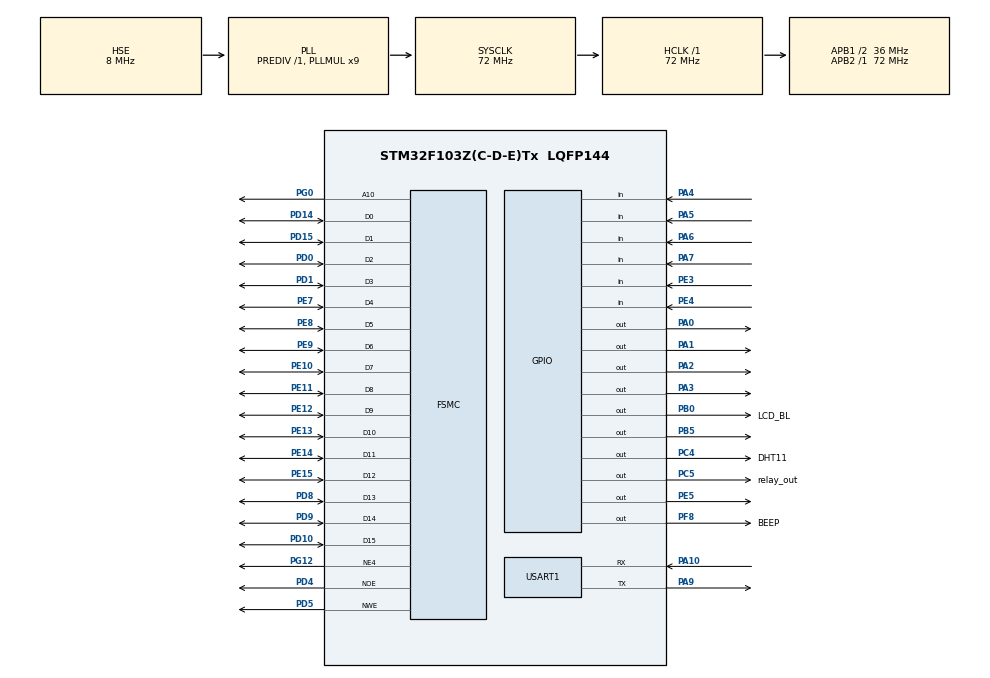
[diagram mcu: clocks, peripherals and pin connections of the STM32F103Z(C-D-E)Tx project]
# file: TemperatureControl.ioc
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FSMC.AddressSetupTime1=2
FSMC.BusTurnAroundDuration1=0
FSMC.DataSetupTime1=16
FSMC.ExtendedAddressSetupTime1=4
FSMC.ExtendedBusTurnAroundDuration1=0
FSMC.ExtendedDataSetupTime1=9
FSMC.ExtendedMode1=FSMC_EXTENDED_MODE_ENABLE
Mcu.Family=STM32F1
Mcu.Name=STM32F103Z(C-D-E)Tx
Mcu.Package=LQFP144
NVIC.PriorityGroup=NVIC_PRIORITYGROUP_4
OSC_IN.Mode=HSE-External-Oscillator
OSC_IN.Signal=RCC_OSC_IN
OSC_OUT.Mode=HSE-External-Oscillator
OSC_OUT.Signal=RCC_OSC_OUT
PA0-WKUP.PinState=GPIO_PIN_RESET
PA0-WKUP.Signal=GPIO_Output
PA1.PinState=GPIO_PIN_RESET
PA1.Signal=GPIO_Output
PA10.Mode=Asynchronous
PA10.Signal=USART1_RX
PA13.Mode=Serial_Wire
PA13.Signal=SYS_JTMS-SWDIO
PA14.Mode=Serial_Wire
PA14.Signal=SYS_JTCK-SWCLK
PA2.PinState=GPIO_PIN_RESET
PA2.Signal=GPIO_Output
PA3.PinState=GPIO_PIN_RESET
PA3.Signal=GPIO_Output
PA4.GPIO_PuPd=GPIO_PULLUP
PA4.Signal=GPIO_Input
PA5.GPIO_PuPd=GPIO_PULLUP
PA5.Signal=GPIO_Input
PA6.GPIO_PuPd=GPIO_PULLUP
PA6.Signal=GPIO_Input
PA7.GPIO_PuPd=GPIO_PULLUP
PA7.Signal=GPIO_Input
PA9.Mode=Asynchronous
PA9.Signal=USART1_TX
PB0.GPIO_Label=LCD_BL
PB0.GPIO_PuPd=GPIO_PULLDOWN
PB0.Signal=GPIO_Output
PB5.GPIO_PuPd=GPIO_PULLUP
PB5.Signal=GPIO_Output
PC14-OSC32_IN.Mode=LSE-External-Oscillator
PC14-OSC32_IN.Signal=RCC_OSC32_IN
PC15-OSC32_OUT.Mode=LSE-External-Oscillator
PC15-OSC32_OUT.Signal=RCC_OSC32_OUT
PC4.GPIO_Label=DHT11
PC4.Signal=GPIO_Output
PC5.GPIO_Label=relay_out
PC5.GPIO_PuPd=GPIO_PULLUP
PC5.Signal=GPIO_Output
PD0.Signal=FSMC_D2_DA2
PD1.Signal=FSMC_D3_DA3
PD10.Signal=FSMC_D15_DA15
PD14.Signal=FSMC_D0_DA0
PD15.Signal=FSMC_D1_DA1
PD4.Signal=FSMC_NOE
PD5.Signal=FSMC_NWE
PD8.Signal=FSMC_D13_DA13
PD9.Signal=FSMC_D14_DA14
PE10.Signal=FSMC_D7_DA7
PE11.Signal=FSMC_D8_DA8
PE12.Signal=FSMC_D9_DA9
PE13.Signal=FSMC_D10_DA10
PE14.Signal=FSMC_D11_DA11
PE15.Signal=FSMC_D12_DA12
PE3.GPIO_PuPd=GPIO_PULLUP
PE3.Signal=GPIO_Input
PE4.GPIO_PuPd=GPIO_PULLUP
PE4.Signal=GPIO_Input
PE5.GPIO_PuPd=GPIO_PULLUP
PE5.Signal=GPIO_Output
PE7.Signal=FSMC_D4_DA4
PE8.Signal=FSMC_D5_DA5
PE9.Signal=FSMC_D6_DA6
PF8.GPIO_Label=BEEP
PF8.Signal=GPIO_Output
PG0.Signal=FSMC_A10
PG12.Mode=NorPsramChipSelect4_1
PG12.Signal=FSMC_NE4
ProjectManager.HeapSize=0x200
ProjectManager.StackSize=0x400
ProjectManager.TargetToolchain=MDK-ARM V5.32
RCC.AHBFreq_Value=72000000
RCC.APB1CLKDivider=RCC_HCLK_DIV2
RCC.APB1Freq_Value=36000000
RCC.APB1TimFreq_Value=72000000
RCC.APB2Freq_Value=72000000
RCC.APB2TimFreq_Value=72000000
RCC.HCLKFreq_Value=72000000
RCC.PLLMUL=RCC_PLL_MUL9
RCC.PLLSourceVirtual=RCC_PLLSOURCE_HSE
RCC.SYSCLKFreq_VALUE=72000000
RCC.SYSCLKSource=RCC_SYSCLKSOURCE_PLLCLK
RCC.USBFreq_Value=72000000
SH.FSMC_A10.0=FSMC_A10,A10_1
SH.FSMC_D0_DA0.0=FSMC_D0,16b-d1
SH.FSMC_D10_DA10.0=FSMC_D10,16b-d1
SH.FSMC_D11_DA11.0=FSMC_D11,16b-d1
SH.FSMC_D12_DA12.0=FSMC_D12,16b-d1
SH.FSMC_D13_DA13.0=FSMC_D13,16b-d1
SH.FSMC_D14_DA14.0=FSMC_D14,16b-d1
SH.FSMC_D15_DA15.0=FSMC_D15,16b-d1
SH.FSMC_D1_DA1.0=FSMC_D1,16b-d1
SH.FSMC_D2_DA2.0=FSMC_D2,16b-d1
SH.FSMC_D3_DA3.0=FSMC_D3,16b-d1
SH.FSMC_D4_DA4.0=FSMC_D4,16b-d1
SH.FSMC_D5_DA5.0=FSMC_D5,16b-d1
SH.FSMC_D6_DA6.0=FSMC_D6,16b-d1
SH.FSMC_D7_DA7.0=FSMC_D7,16b-d1
SH.FSMC_D8_DA8.0=FSMC_D8,16b-d1
SH.FSMC_D9_DA9.0=FSMC_D9,16b-d1
SH.FSMC_NOE.0=FSMC_NOE,Lcd1
SH.FSMC_NWE.0=FSMC_NWE,Lcd1
TIM2.Prescaler=72-1
USART1.VirtualMode=VM_ASYNC
VP_TIM2_VS_ClockSourceINT.Mode=Internal
board=custom

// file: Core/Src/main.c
/* USER CODE BEGIN Header */
/**
  ******************************************************************************
  * @file           : main.c
  * @brief          : Main program body
  ******************************************************************************
  * @attention
  *
  * Copyright (c) 2024 STMicroelectronics.
  * All rights reserved.
  *
  * This software is licensed under terms that can be found in the LICENSE file
  * in the root directory of this software component.
  * If no LICENSE file comes with this software, it is provided AS-IS.
  *
  ******************************************************************************
  */
/* USER CODE END Header */
#include "main.h"
#include "tim.h"
#include "usart.h"
#include "gpio.h"
#include "fsmc.h"

/* USER CODE BEGIN Includes */
#include "lcd.h"
#include "dht11.h"
#include "keyboard.h"
#include <stdio.h>
/* USER CODE END Includes */

void SystemClock_Config(void);

/* USER CODE BEGIN 0 */
int fputc(int ch,FILE *f)
{
    HAL_UART_Transmit(&huart1,(uint8_t *) &ch,1,HAL_MAX_DELAY);
    return ch;
}
int fgetc(FILE *f)
{
    uint8_t ch;
    HAL_UART_Receive(&huart1,(uint8_t *)&ch,1,HAL_MAX_DELAY);
    return ch;
}

uint8_t get_max_temperature()
{
	uint8_t max = 0;
	uint8_t key;
	uint8_t pre_key;
	while(1){
	key = key_scan();
	if(key > 9)break;
	if(key!=0 && key!=pre_key)max+=key;
	pre_key = key;
	}
	return max;
}
/* USER CODE END 0 */

int main(void)
{
  /* USER CODE BEGIN 1 */
  uint16_t temperature;
  uint16_t humidity;
  uint8_t max_temperature;
  uint8_t integer_part;
  uint8_t decimal_part;
  char buffer[100];
  /* USER CODE END 1 */

  /* MCU Configuration--------------------------------------------------------*/

  /* Reset of all peripherals, Initializes the Flash interface and the Systick. */
  HAL_Init();

  /* Configure the system clock */
  SystemClock_Config();

  /* Initialize all configured peripherals */
  MX_GPIO_Init();
  MX_FSMC_Init();
  MX_TIM2_Init();
  MX_USART1_UART_Init();
  /* USER CODE BEGIN 2 */
  LCD_Init();
  LCD_DisplayOn();
  LCD_Clear(WHITE);
  HAL_GPIO_WritePin(LCD_BL_GPIO_Port, LCD_BL_Pin, 1);

  while(DHT11_Init())
  {
    printf("DHT11 Checked failed!!!\r\n");
    HAL_Delay(500);
  }
    printf("DHT11 Checked Sucess!!!\r\n");
  /* USER CODE END 2 */

  /* Infinite loop */
  /* USER CODE BEGIN WHILE */
  max_temperature = get_max_temperature();
  printf("max temperature = %d \r\n",max_temperature);
  while (1)
  {
	DHT11_Read_Data(&temperature,&humidity);
    printf("DHT11 Temperature = %d.%d degree\r\n",temperature>>8,temperature&0xff);
	integer_part = temperature >> 8;
	decimal_part = temperature & 0xff;
	temperature = integer_part + (decimal_part / 100.0);

	sprintf(buffer, "DHT11 Temperature = %d", temperature);
	LCD_ShowString(30,40,210,24,24, buffer);
	LCD_ShowString(50,40,210,24,24, "NEFU");
    /* USER CODE END WHILE */

    /* USER CODE BEGIN 3 */
	if(temperature >= max_temperature){
	  HAL_GPIO_WritePin(relay_out_GPIO_Port, relay_out_Pin, GPIO_PIN_SET);
	  HAL_GPIO_WritePin(BEEP_GPIO_Port, BEEP_Pin, GPIO_PIN_SET);
	}
	if(temperature < max_temperature){
	  HAL_GPIO_WritePin(relay_out_GPIO_Port, relay_out_Pin, GPIO_PIN_RESET);
	  HAL_GPIO_WritePin(BEEP_GPIO_Port, BEEP_Pin, GPIO_PIN_RESET);
	}
	HAL_Delay(1000);

  }
  /* USER CODE END 3 */
}

void SystemClock_Config(void)
{
  RCC_OscInitTypeDef RCC_OscInitStruct = {0};
  RCC_ClkInitTypeDef RCC_ClkInitStruct = {0};

  /** Initializes the RCC Oscillators according to the specified parameters
  * in the RCC_OscInitTypeDef structure.
  */
  RCC_OscInitStruct.OscillatorType = RCC_OSCILLATORTYPE_HSE;
  RCC_OscInitStruct.HSEState = RCC_HSE_ON;
  RCC_OscInitStruct.HSEPredivValue = RCC_HSE_PREDIV_DIV1;
  RCC_OscInitStruct.HSIState = RCC_HSI_ON;
  RCC_OscInitStruct.PLL.PLLState = RCC_PLL_ON;
  RCC_OscInitStruct.PLL.PLLSource = RCC_PLLSOURCE_HSE;
  RCC_OscInitStruct.PLL.PLLMUL = RCC_PLL_MUL9;
  if (HAL_RCC_OscConfig(&RCC_OscInitStruct) != HAL_OK)
  {
    Error_Handler();
  }

  /** Initializes the CPU, AHB and APB buses clocks
  */
  RCC_ClkInitStruct.ClockType = RCC_CLOCKTYPE_HCLK|RCC_CLOCKTYPE_SYSCLK
                              |RCC_CLOCKTYPE_PCLK1|RCC_CLOCKTYPE_PCLK2;
  RCC_ClkInitStruct.SYSCLKSource = RCC_SYSCLKSOURCE_PLLCLK;
  RCC_ClkInitStruct.AHBCLKDivider = RCC_SYSCLK_DIV1;
  RCC_ClkInitStruct.APB1CLKDivider = RCC_HCLK_DIV2;
  RCC_ClkInitStruct.APB2CLKDivider = RCC_HCLK_DIV1;

  if (HAL_RCC_ClockConfig(&RCC_ClkInitStruct, FLASH_LATENCY_2) != HAL_OK)
  {
    Error_Handler();
  }
}

void Error_Handler(void)
{
  __disable_irq();
  while (1)
  {
  }
}
